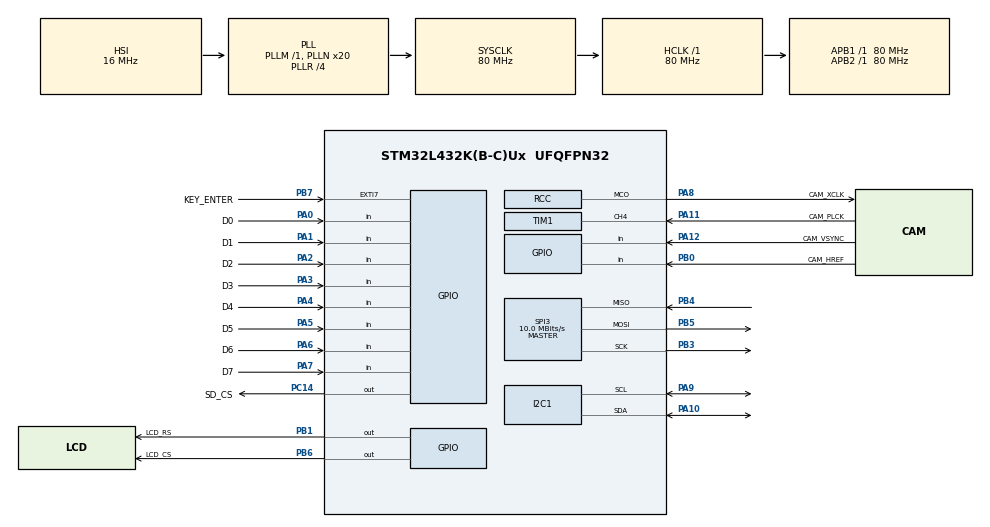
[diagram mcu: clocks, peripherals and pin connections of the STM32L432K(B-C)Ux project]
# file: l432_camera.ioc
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I2C1.Timing=0x10909CEC
Mcu.Family=STM32L4
Mcu.Name=STM32L432K(B-C)Ux
Mcu.Package=UFQFPN32
NVIC.EXTI9_5_IRQn=true\:1\:0\:true\:false\:true\:true\:true\:true
NVIC.PriorityGroup=NVIC_PRIORITYGROUP_4
NVIC.TIM1_UP_TIM16_IRQn=true\:0\:0\:false\:false\:true\:true\:true\:true
PA0.GPIO_Label=D0
PA0.GPIO_PuPd=GPIO_PULLDOWN
PA0.Signal=GPIO_Input
PA1.GPIO_Label=D1
PA1.GPIO_PuPd=GPIO_PULLDOWN
PA1.Signal=GPIO_Input
PA10.Mode=I2C
PA10.Signal=I2C1_SDA
PA11.GPIO_Label=CAM_PLCK
PA11.GPIO_PuPd=GPIO_PULLDOWN
PA11.GPIO_Speed=GPIO_SPEED_FREQ_VERY_HIGH
PA11.Signal=S_TIM1_CH4
PA12.GPIO_Label=CAM_VSYNC
PA12.GPIO_PuPd=GPIO_PULLDOWN
PA12.Signal=GPIO_Input
PA13\ (JTMS-SWDIO).Mode=Serial_Wire
PA13\ (JTMS-SWDIO).Signal=SYS_JTMS-SWDIO
PA14\ (JTCK-SWCLK).Mode=Serial_Wire
PA14\ (JTCK-SWCLK).Signal=SYS_JTCK-SWCLK
PA2.GPIO_Label=D2
PA2.GPIO_PuPd=GPIO_PULLDOWN
PA2.Signal=GPIO_Input
PA3.GPIO_Label=D3
PA3.GPIO_PuPd=GPIO_PULLDOWN
PA3.Signal=GPIO_Input
PA4.GPIO_Label=D4
PA4.GPIO_PuPd=GPIO_PULLDOWN
PA4.Signal=GPIO_Input
PA5.GPIO_Label=D5
PA5.GPIO_PuPd=GPIO_PULLDOWN
PA5.Signal=GPIO_Input
PA6.GPIO_Label=D6
PA6.GPIO_PuPd=GPIO_PULLDOWN
PA6.Signal=GPIO_Input
PA7.GPIO_Label=D7
PA7.GPIO_PuPd=GPIO_PULLDOWN
PA7.Signal=GPIO_Input
PA8.GPIO_Label=CAM_XCLK
PA8.GPIO_Speed=GPIO_SPEED_FREQ_HIGH
PA8.Mode=Clock-out
PA8.Signal=RCC_MCO
PA9.Mode=I2C
PA9.Signal=I2C1_SCL
PB0.GPIO_Label=CAM_HREF
PB0.GPIO_PuPd=GPIO_PULLDOWN
PB0.Signal=GPIO_Input
PB1.GPIO_Label=LCD_RS
PB1.GPIO_PuPd=GPIO_PULLDOWN
PB1.GPIO_Speed=GPIO_SPEED_FREQ_HIGH
PB1.Signal=GPIO_Output
PB3\ (JTDO-TRACESWO).Mode=Full_Duplex_Master
PB3\ (JTDO-TRACESWO).Signal=SPI3_SCK
PB4\ (NJTRST).Mode=Full_Duplex_Master
PB4\ (NJTRST).Signal=SPI3_MISO
PB5.Mode=Full_Duplex_Master
PB5.Signal=SPI3_MOSI
PB6.GPIO_Label=LCD_CS
PB6.GPIO_Speed=GPIO_SPEED_FREQ_HIGH
PB6.Signal=GPIO_Output
PB7.GPIO_Label=KEY_ENTER
PB7.GPIO_ModeDefaultEXTI=GPIO_MODE_IT_FALLING
PB7.GPIO_PuPd=GPIO_PULLDOWN
PB7.Signal=GPXTI7
PC14-OSC32_IN\ (PC14).GPIO_Label=SD_CS
PC14-OSC32_IN\ (PC14).Signal=GPIO_Output
ProjectManager.HeapSize=0x200
ProjectManager.StackSize=0x400
ProjectManager.TargetToolchain=STM32CubeIDE
RCC.ADCFreq_Value=64000000
RCC.AHBFreq_Value=80000000
RCC.APB1Freq_Value=80000000
RCC.APB1TimFreq_Value=80000000
RCC.APB2Freq_Value=80000000
RCC.APB2TimFreq_Value=80000000
RCC.CortexFreq_Value=80000000
RCC.HCLKFreq_Value=80000000
RCC.HSE_Timout=1000
RCC.HSE_VALUE=8000000
RCC.HSI48_VALUE=48000000
RCC.HSI_VALUE=16000000
RCC.LSE_VALUE=32768
RCC.MSI_VALUE=4000000
RCC.PLLN=20
RCC.PLLR=RCC_PLLR_DIV4
RCC.PLLSourceVirtual=RCC_PLLSOURCE_HSI
RCC.RCC_MCO1Source=RCC_MCO1SOURCE_PLLCLK
RCC.RCC_MCODiv=RCC_MCODIV_8
RCC.SYSCLKFreq_VALUE=80000000
RCC.SYSCLKSource=RCC_SYSCLKSOURCE_PLLCLK
RCC.USBFreq_Value=64000000
RCC.VCOOutputFreq_Value=320000000
SH.S_TIM1_CH4.0=TIM1_CH4,Input_Capture4_from_TI4
SPI3.BaudRatePrescaler=SPI_BAUDRATEPRESCALER_8
SPI3.CalculateBaudRate=10.0 MBits/s
SPI3.DataSize=SPI_DATASIZE_8BIT
SPI3.Direction=SPI_DIRECTION_2LINES
SPI3.Mode=SPI_MODE_MASTER
SPI3.NSSPMode=SPI_NSS_PULSE_DISABLE
SPI3.VirtualType=VM_MASTER
TIM1.AutoReloadPreload=TIM_AUTORELOAD_PRELOAD_ENABLE
TIM1.Channel-Input_Capture4_from_TI4=TIM_CHANNEL_4
VP_TIM1_VS_ClockSourceINT.Mode=Internal
board=NUCLEO-L432KC

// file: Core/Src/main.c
/* USER CODE BEGIN Header */
/**
  ******************************************************************************
  * @file           : main.c
  * @brief          : Main program body
  ******************************************************************************
  * @attention
  *
  * Copyright (c) 2022 STMicroelectronics.
  * All rights reserved.
  *
  * This software is licensed under terms that can be found in the LICENSE file
  * in the root directory of this software component.
  * If no LICENSE file comes with this software, it is provided AS-IS.
  *
  ******************************************************************************
  */
/* USER CODE END Header */
#include "main.h"

/* USER CODE BEGIN Includes */
#include "Noc_Hal_Camera.h"
#include "../../sdcard/sdcard.h"
#include "Noc_Hal_LCD.h"
#include "../../jpegdecode/tjpgd.h"
#include "string.h"

#include <stdio.h>

#include "Noc_Lib_System.h"

/* USER CODE END Includes */

I2C_HandleTypeDef hi2c1;

SPI_HandleTypeDef hspi3;

TIM_HandleTypeDef htim1;
DMA_HandleTypeDef hdma_tim1_ch4_trig_com;

/* USER CODE BEGIN PV */
I2C_HandleTypeDef hi2c1;
/* USER CODE END PV */

void SystemClock_Config(void);
static void MX_GPIO_Init(void);
static void MX_DMA_Init(void);
static void MX_I2C1_Init(void);
static void MX_SPI3_Init(void);
static void MX_TIM1_Init(void);

/* USER CODE BEGIN 0 */
static uint8_t imgBuff[BUFFER_SIZE] = {0};
// BYTE Buff[4096]  __attribute__ ((aligned(4)));		/* Working buffer */

/* USER CODE END 0 */

int main(void)
{

  /* MCU Configuration--------------------------------------------------------*/

  /* Reset of all peripherals, Initializes the Flash interface and the Systick. */
  HAL_Init();

  /* Configure the system clock */
  SystemClock_Config();

  /* Initialize all configured peripherals */
  MX_GPIO_Init();
  MX_DMA_Init();
  MX_I2C1_Init();
  MX_SPI3_Init();
  MX_TIM1_Init();
  /* USER CODE BEGIN 2 */
  nocSYSSTATUS status = NocLibSys_Init();
  nocCAMRESULT res = NochalCamera_Config();

  if (HAL_DMA_Start_IT(htim1.hdma[TIM_DMA_ID_CC4], GPIOA_IDR, (uint32_t)&imgBuff, BUFFER_SIZE) != HAL_OK)
  {
    /* Transfer Error */
    Error_Handler();
  }
  __HAL_TIM_ENABLE_DMA(&htim1, TIM_IT_CC4);
  TIM_CCxChannelCmd(htim1.Instance, TIM_CHANNEL_4, TIM_CCx_ENABLE);

  /* USER CODE END 2 */

  /* Infinite loop */
  /* USER CODE BEGIN WHILE */
  while (1)
  {
    // NocHalCamera_oneshotMode();

    /* USER CODE END WHILE */

  }
}

void SystemClock_Config(void)
{
  RCC_OscInitTypeDef RCC_OscInitStruct = {0};
  RCC_ClkInitTypeDef RCC_ClkInitStruct = {0};

  /** Configure the main internal regulator output voltage
  */
  if (HAL_PWREx_ControlVoltageScaling(PWR_REGULATOR_VOLTAGE_SCALE1) != HAL_OK)
  {
    Error_Handler();
  }

  /** Initializes the RCC Oscillators according to the specified parameters
  * in the RCC_OscInitTypeDef structure.
  */
  RCC_OscInitStruct.OscillatorType = RCC_OSCILLATORTYPE_HSI;
  RCC_OscInitStruct.HSIState = RCC_HSI_ON;
  RCC_OscInitStruct.HSICalibrationValue = RCC_HSICALIBRATION_DEFAULT;
  RCC_OscInitStruct.PLL.PLLState = RCC_PLL_ON;
  RCC_OscInitStruct.PLL.PLLSource = RCC_PLLSOURCE_HSI;
  RCC_OscInitStruct.PLL.PLLM = 1;
  RCC_OscInitStruct.PLL.PLLN = 20;
  RCC_OscInitStruct.PLL.PLLP = RCC_PLLP_DIV7;
  RCC_OscInitStruct.PLL.PLLQ = RCC_PLLQ_DIV2;
  RCC_OscInitStruct.PLL.PLLR = RCC_PLLR_DIV4;
  if (HAL_RCC_OscConfig(&RCC_OscInitStruct) != HAL_OK)
  {
    Error_Handler();
  }

  /** Initializes the CPU, AHB and APB buses clocks
  */
  RCC_ClkInitStruct.ClockType = RCC_CLOCKTYPE_HCLK|RCC_CLOCKTYPE_SYSCLK
                              |RCC_CLOCKTYPE_PCLK1|RCC_CLOCKTYPE_PCLK2;
  RCC_ClkInitStruct.SYSCLKSource = RCC_SYSCLKSOURCE_PLLCLK;
  RCC_ClkInitStruct.AHBCLKDivider = RCC_SYSCLK_DIV1;
  RCC_ClkInitStruct.APB1CLKDivider = RCC_HCLK_DIV1;
  RCC_ClkInitStruct.APB2CLKDivider = RCC_HCLK_DIV1;

  if (HAL_RCC_ClockConfig(&RCC_ClkInitStruct, FLASH_LATENCY_4) != HAL_OK)
  {
    Error_Handler();
  }
  HAL_RCC_MCOConfig(RCC_MCO1, RCC_MCO1SOURCE_PLLCLK, RCC_MCODIV_8);
}

static void MX_I2C1_Init(void)
{

  hi2c1.Instance = I2C1;
  hi2c1.Init.Timing = 0x10909CEC;
  hi2c1.Init.OwnAddress1 = 0;
  hi2c1.Init.AddressingMode = I2C_ADDRESSINGMODE_7BIT;
  hi2c1.Init.DualAddressMode = I2C_DUALADDRESS_DISABLE;
  hi2c1.Init.OwnAddress2 = 0;
  hi2c1.Init.OwnAddress2Masks = I2C_OA2_NOMASK;
  hi2c1.Init.GeneralCallMode = I2C_GENERALCALL_DISABLE;
  hi2c1.Init.NoStretchMode = I2C_NOSTRETCH_DISABLE;
  if (HAL_I2C_Init(&hi2c1) != HAL_OK)
  {
    Error_Handler();
  }

  /** Configure Analogue filter
  */
  if (HAL_I2CEx_ConfigAnalogFilter(&hi2c1, I2C_ANALOGFILTER_ENABLE) != HAL_OK)
  {
    Error_Handler();
  }

  /** Configure Digital filter
  */
  if (HAL_I2CEx_ConfigDigitalFilter(&hi2c1, 0) != HAL_OK)
  {
    Error_Handler();
  }

}

static void MX_SPI3_Init(void)
{

  /* SPI3 parameter configuration*/
  hspi3.Instance = SPI3;
  hspi3.Init.Mode = SPI_MODE_MASTER;
  hspi3.Init.Direction = SPI_DIRECTION_2LINES;
  hspi3.Init.DataSize = SPI_DATASIZE_8BIT;
  hspi3.Init.CLKPolarity = SPI_POLARITY_LOW;
  hspi3.Init.CLKPhase = SPI_PHASE_1EDGE;
  hspi3.Init.NSS = SPI_NSS_SOFT;
  hspi3.Init.BaudRatePrescaler = SPI_BAUDRATEPRESCALER_8;
  hspi3.Init.FirstBit = SPI_FIRSTBIT_MSB;
  hspi3.Init.TIMode = SPI_TIMODE_DISABLE;
  hspi3.Init.CRCCalculation = SPI_CRCCALCULATION_DISABLE;
  hspi3.Init.CRCPolynomial = 7;
  hspi3.Init.CRCLength = SPI_CRC_LENGTH_DATASIZE;
  hspi3.Init.NSSPMode = SPI_NSS_PULSE_DISABLE;
  if (HAL_SPI_Init(&hspi3) != HAL_OK)
  {
    Error_Handler();
  }

}

static void MX_TIM1_Init(void)
{

  TIM_ClockConfigTypeDef sClockSourceConfig = {0};
  TIM_MasterConfigTypeDef sMasterConfig = {0};
  TIM_IC_InitTypeDef sConfigIC = {0};

  htim1.Instance = TIM1;
  htim1.Init.Prescaler = 79;
  htim1.Init.CounterMode = TIM_COUNTERMODE_UP;
  htim1.Init.Period = 65535;
  htim1.Init.ClockDivision = TIM_CLOCKDIVISION_DIV1;
  htim1.Init.RepetitionCounter = 0;
  htim1.Init.AutoReloadPreload = TIM_AUTORELOAD_PRELOAD_DISABLE;
  if (HAL_TIM_Base_Init(&htim1) != HAL_OK)
  {
    Error_Handler();
  }
  sClockSourceConfig.ClockSource = TIM_CLOCKSOURCE_INTERNAL;
  if (HAL_TIM_ConfigClockSource(&htim1, &sClockSourceConfig) != HAL_OK)
  {
    Error_Handler();
  }
  if (HAL_TIM_IC_Init(&htim1) != HAL_OK)
  {
    Error_Handler();
  }
  sMasterConfig.MasterOutputTrigger = TIM_TRGO_RESET;
  sMasterConfig.MasterOutputTrigger2 = TIM_TRGO2_RESET;
  sMasterConfig.MasterSlaveMode = TIM_MASTERSLAVEMODE_DISABLE;
  if (HAL_TIMEx_MasterConfigSynchronization(&htim1, &sMasterConfig) != HAL_OK)
  {
    Error_Handler();
  }
  sConfigIC.ICPolarity = TIM_INPUTCHANNELPOLARITY_RISING;
  sConfigIC.ICSelection = TIM_ICSELECTION_DIRECTTI;
  sConfigIC.ICPrescaler = TIM_ICPSC_DIV1;
  sConfigIC.ICFilter = 0;
  if (HAL_TIM_IC_ConfigChannel(&htim1, &sConfigIC, TIM_CHANNEL_4) != HAL_OK)
  {
    Error_Handler();
  }
  /* USER CODE BEGIN TIM1_Init 2 */
  htim1.hdma[TIM_DMA_ID_CC4]->XferHalfCpltCallback = HalfTransferComplete;
  htim1.hdma[TIM_DMA_ID_CC4]->XferCpltCallback = TransferComplete;
  htim1.hdma[TIM_DMA_ID_CC4]->XferErrorCallback = TransferError;

  /* USER CODE END TIM1_Init 2 */

}

static void MX_DMA_Init(void)
{

  /* DMA controller clock enable */
  __HAL_RCC_DMA1_CLK_ENABLE();

  /* DMA interrupt init */
  /* DMA1_Channel4_IRQn interrupt configuration */
  HAL_NVIC_SetPriority(DMA1_Channel4_IRQn, 0, 0);
  HAL_NVIC_EnableIRQ(DMA1_Channel4_IRQn);

}

static void MX_GPIO_Init(void)
{
  GPIO_InitTypeDef GPIO_InitStruct = {0};

  /* GPIO Ports Clock Enable */
  __HAL_RCC_GPIOC_CLK_ENABLE();
  __HAL_RCC_GPIOA_CLK_ENABLE();
  __HAL_RCC_GPIOB_CLK_ENABLE();

  /*Configure GPIO pin Output Level */
  HAL_GPIO_WritePin(SD_CS_GPIO_Port, SD_CS_Pin, GPIO_PIN_RESET);

  /*Configure GPIO pin Output Level */
  HAL_GPIO_WritePin(GPIOB, LCD_RS_Pin|LCD_CS_Pin, GPIO_PIN_RESET);

  /*Configure GPIO pin : SD_CS_Pin */
  GPIO_InitStruct.Pin = SD_CS_Pin;
  GPIO_InitStruct.Mode = GPIO_MODE_OUTPUT_PP;
  GPIO_InitStruct.Pull = GPIO_NOPULL;
  GPIO_InitStruct.Speed = GPIO_SPEED_FREQ_LOW;
  HAL_GPIO_Init(SD_CS_GPIO_Port, &GPIO_InitStruct);

  /*Configure GPIO pins : D0_Pin D1_Pin D2_Pin D3_Pin
                           D4_Pin D5_Pin D6_Pin D7_Pin
                           CAM_VSYNC_Pin */
  GPIO_InitStruct.Pin = D0_Pin|D1_Pin|D2_Pin|D3_Pin
                          |D4_Pin|D5_Pin|D6_Pin|D7_Pin
                          |CAM_VSYNC_Pin;
  GPIO_InitStruct.Mode = GPIO_MODE_INPUT;
  GPIO_InitStruct.Pull = GPIO_PULLDOWN;
  HAL_GPIO_Init(GPIOA, &GPIO_InitStruct);

  /*Configure GPIO pin : CAM_HREF_Pin */
  GPIO_InitStruct.Pin = CAM_HREF_Pin;
  GPIO_InitStruct.Mode = GPIO_MODE_INPUT;
  GPIO_InitStruct.Pull = GPIO_PULLDOWN;
  HAL_GPIO_Init(CAM_HREF_GPIO_Port, &GPIO_InitStruct);

  /*Configure GPIO pin : LCD_RS_Pin */
  GPIO_InitStruct.Pin = LCD_RS_Pin;
  GPIO_InitStruct.Mode = GPIO_MODE_OUTPUT_PP;
  GPIO_InitStruct.Pull = GPIO_PULLDOWN;
  GPIO_InitStruct.Speed = GPIO_SPEED_FREQ_HIGH;
  HAL_GPIO_Init(LCD_RS_GPIO_Port, &GPIO_InitStruct);

  /*Configure GPIO pin : CAM_XCLK_Pin */
  GPIO_InitStruct.Pin = CAM_XCLK_Pin;
  GPIO_InitStruct.Mode = GPIO_MODE_AF_PP;
  GPIO_InitStruct.Pull = GPIO_NOPULL;
  GPIO_InitStruct.Speed = GPIO_SPEED_FREQ_HIGH;
  GPIO_InitStruct.Alternate = GPIO_AF0_MCO;
  HAL_GPIO_Init(CAM_XCLK_GPIO_Port, &GPIO_InitStruct);

  /*Configure GPIO pin : LCD_CS_Pin */
  GPIO_InitStruct.Pin = LCD_CS_Pin;
  GPIO_InitStruct.Mode = GPIO_MODE_OUTPUT_PP;
  GPIO_InitStruct.Pull = GPIO_NOPULL;
  GPIO_InitStruct.Speed = GPIO_SPEED_FREQ_HIGH;
  HAL_GPIO_Init(LCD_CS_GPIO_Port, &GPIO_InitStruct);

  /*Configure GPIO pin : KEY_ENTER_Pin */
  GPIO_InitStruct.Pin = KEY_ENTER_Pin;
  GPIO_InitStruct.Mode = GPIO_MODE_IT_FALLING;
  GPIO_InitStruct.Pull = GPIO_PULLDOWN;
  HAL_GPIO_Init(KEY_ENTER_GPIO_Port, &GPIO_InitStruct);

  /* EXTI interrupt init*/
  HAL_NVIC_SetPriority(EXTI9_5_IRQn, 1, 0);
  HAL_NVIC_EnableIRQ(EXTI9_5_IRQn);

}

/* USER CODE BEGIN 4 */
/**
  * @brief  DMA conversion Half complete callback
  * @note   This function is executed when the transfer half complete interrupt
  *         is generated
  * @retval None
  */
static void HalfTransferComplete(DMA_HandleTypeDef *DmaHandle)
{
  int position = 0;
  LastITHalfComplete = 1;

  /* Copy the first part of the received buffer */
  for (int i = 0; i < HALF_BUFFER_SIZE; i++)
  {
    aFull_Buffer[FullDataIndex] = aDST_Buffer[i+position];
    FullDataIndex++;
  }

}

/**
  * @brief  DMA conversion complete callback
  * @note   This function is executed when the transfer complete interrupt
  *         is generated
  * @retval None
  */
static void TransferComplete(DMA_HandleTypeDef *DmaHandle)
{
  int position = HALF_BUFFER_SIZE;
  LastITHalfComplete = 0;

  /* Copy the second part of the received buffer */
  for (int i = 0; i < HALF_BUFFER_SIZE; i++)
  {
    aFull_Buffer[FullDataIndex] = aDST_Buffer[i+position];
    FullDataIndex++;
  }

}

/**
  * @brief  DMA conversion error callback
  * @note   This function is executed when the transfer error interrupt
  *         is generated during DMA transfer
  * @retval None
  */
static void TransferError(DMA_HandleTypeDef *DmaHandle)
{
  /* show Error on LCD */
  bLCDGlass_KeyPressed = 1;  /* disable scrolling */
  BSP_LCD_GLASS_Clear();
  BSP_LCD_GLASS_DisplayString(LCD_String_Error);

  /* setting LED_RED if error */
  BSP_LED_On(LED_RED);

}
/* USER CODE END 4 */

void Error_Handler(void)
{
  __disable_irq();
  while (1)
  {
  }
}
